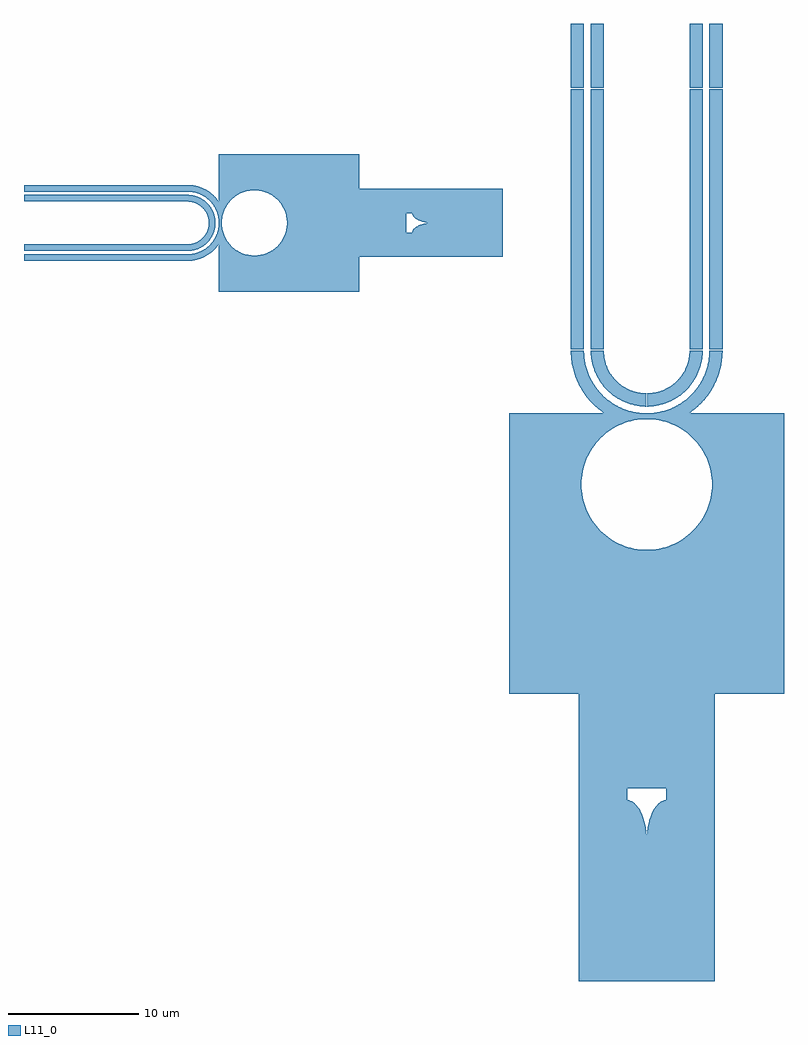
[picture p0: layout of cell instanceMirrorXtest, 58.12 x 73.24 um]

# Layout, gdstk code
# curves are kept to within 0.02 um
from math import pi, radians
import gdstk
lib = gdstk.Library(unit=1e-6, precision=1e-09)
def R(c, l, rs):  # rectangles x0, y0, x1, y1
    for r in rs: c.add(gdstk.rectangle(r[:2], r[2:], *l))
def P(c, l, *ps):  # polygons
    for p in ps: c.add(gdstk.Polygon(p, *l))
L11_0 = (11, 0)

device = lib.new_cell('device')
R(device, L11_0, [(14.2,-25.24,15.2,-20.34), (15.72,-25.24,16.72,-20.34), (23.28,-25.24,24.28,-20.34), (24.8,-25.24,25.8,-20.34), (14.2,-20.24,15.2,-0.34), (15.72,-20.24,16.72,-0.34), (23.28,-20.24,24.28,-0.34), (24.8,-20.24,25.8,-0.34)])
P(device, L11_0, [(15.72,-0.24),(15.741,0.18),(15.802,0.595),(15.904,1.002),(16.046,1.398),(16.225,1.778),(16.441,2.138),(16.692,2.475),(16.974,2.786),(17.285,3.068),(17.622,3.319),(17.982,3.535),(18.362,3.714),(18.758,3.856),(19.165,3.958),(19.95,4.039),(19.95,3.039),(19.598,3.015),(19.203,2.942),(18.525,2.69),(18.178,2.487),(17.858,2.244),(17.624,2.022),(17.365,1.714),(17.07,1.235),(16.886,0.789),(16.768,0.321),(16.72,-0.24)],
  [(23.28,-0.24),(23.232,0.321),(23.114,0.789),(22.93,1.235),(22.635,1.714),(22.376,2.022),(22.142,2.244),(21.822,2.487),(21.475,2.69),(20.797,2.942),(20.402,3.015),(20.05,3.039),(20.05,4.039),(20.524,4.008),(21.04,3.912),(21.442,3.79),(21.924,3.583),(22.378,3.319),(22.796,3.001),(23.1,2.711),(23.438,2.31),(23.775,1.778),(24.064,1.103),(24.234,0.388),(24.28,-0.24)],
  [(14.2,-0.24),(14.244,0.47),(14.374,1.169),(14.589,1.847),(14.885,2.494),(15.258,3.1),(15.702,3.655),(16.212,4.152),(16.745,4.56),(9.5,4.56),(9.5,5),(20,5),(20.734,5.054),(21.215,5.15),(21.684,5.292),(22.138,5.48),(22.571,5.711),(23.172,6.135),(23.705,6.642),(24.016,7.022),(24.289,7.429),(24.52,7.862),(24.708,8.316),(24.85,8.785),(24.946,9.266),(24.994,9.755),(24.994,10.245),(24.904,10.975),(24.785,11.451),(24.619,11.913),(24.41,12.357),(24.157,12.778),(23.865,13.172),(23.536,13.536),(23.172,13.865),(22.571,14.289),(22.138,14.52),(21.451,14.785),(20.975,14.904),(20.49,14.976),(19.755,14.994),(19.266,14.946),(18.785,14.85),(18.316,14.708),(17.862,14.52),(17.429,14.289),(16.828,13.865),(16.295,13.358),(15.984,12.978),(15.711,12.571),(15.48,12.138),(15.292,11.684),(15.096,10.975),(15.006,10.245),(15.006,9.755),(15.054,9.266),(15.215,8.549),(15.381,8.087),(15.59,7.643),(15.843,7.222),(16.135,6.828),(16.642,6.295),(17.022,5.984),(17.429,5.711),(17.862,5.48),(18.316,5.292),(18.785,5.15),(19.266,5.054),(20,5),(9.5,5),(9.5,26),(14.8,26),(14.8,33.25),(21.5,33.25),(21.5,34.15),(21.353,34.165),(21.136,34.243),(20.859,34.448),(20.606,34.76),(20.34,35.283),(20.213,35.656),(20.088,36.206),(20.016,36.795),(20,37.25),(19.935,36.35),(19.823,35.789),(19.705,35.403),(19.452,34.854),(19.207,34.516),(18.864,34.243),(18.647,34.165),(18.5,34.15),(18.5,33.25),(14.8,33.25),(14.8,48),(25.2,48),(25.2,26),(30.5,26),(30.5,4.56),(23.255,4.56),(23.788,4.152),(24.298,3.655),(24.742,3.1),(25.115,2.494),(25.411,1.847),(25.626,1.169),(25.756,0.47),(25.8,-0.24),(24.8,-0.24),(24.764,0.348),(24.683,0.812),(24.558,1.266),(24.339,1.812),(24.117,2.228),(23.784,2.713),(23.394,3.154),(23.045,3.47),(22.366,3.936),(21.617,4.279),(20.821,4.489),(20,4.56),(19.179,4.489),(18.383,4.279),(17.634,3.936),(16.955,3.47),(16.606,3.154),(16.216,2.713),(15.883,2.228),(15.661,1.812),(15.442,1.266),(15.317,0.812),(15.236,0.348),(15.2,-0.24)])

instancemirrorxtest = lib.new_cell('instanceMirrorXtest')
instancemirrorxtest.add(gdstk.Reference(device, (0,0), x_reflection=True))
instancemirrorxtest.add(gdstk.Reference(device, (-15,0), rotation=pi/2, magnification=0.5, x_reflection=True))

lib.write_gds('instanceMirrorXtest.gds')
